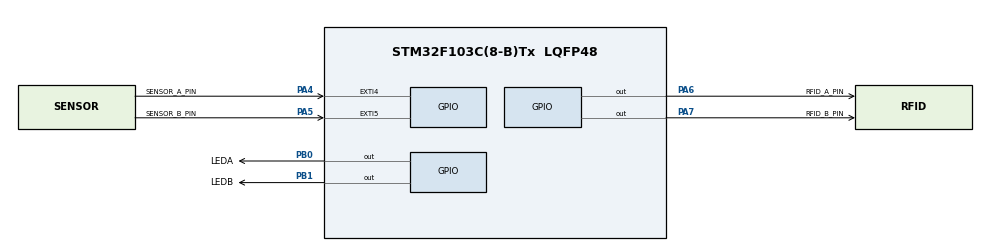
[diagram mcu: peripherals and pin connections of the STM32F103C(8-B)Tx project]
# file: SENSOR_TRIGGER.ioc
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Mcu.Family=STM32F1
Mcu.Name=STM32F103C(8-B)Tx
Mcu.Package=LQFP48
NVIC.EXTI4_IRQn=true\:0\:0\:false\:false\:true\:true\:true\:true
NVIC.EXTI9_5_IRQn=true\:0\:0\:false\:false\:true\:true\:true\:true
NVIC.PriorityGroup=NVIC_PRIORITYGROUP_4
PA13.Mode=JTAG_4_pins
PA13.Signal=SYS_JTMS-SWDIO
PA14.Mode=JTAG_4_pins
PA14.Signal=SYS_JTCK-SWCLK
PA15.Mode=JTAG_4_pins
PA15.Signal=SYS_JTDI
PA4.GPIO_Label=SENSOR_A_PIN
PA4.GPIO_ModeDefaultEXTI=GPIO_MODE_IT_FALLING
PA4.GPIO_PuPd=GPIO_PULLUP
PA4.Signal=GPXTI4
PA5.GPIO_Label=SENSOR_B_PIN
PA5.GPIO_ModeDefaultEXTI=GPIO_MODE_IT_FALLING
PA5.GPIO_PuPd=GPIO_PULLUP
PA5.Signal=GPXTI5
PA6.GPIO_Label=RFID_A_PIN
PA6.Signal=GPIO_Output
PA7.GPIO_Label=RFID_B_PIN
PA7.Signal=GPIO_Output
PB0.GPIO_Label=LEDA
PB0.Signal=GPIO_Output
PB1.GPIO_Label=LEDB
PB1.Signal=GPIO_Output
PB3.Mode=JTAG_4_pins
PB3.Signal=SYS_JTDO-TRACESWO
PD0-OSC_IN.Mode=HSE-External-Oscillator
PD0-OSC_IN.Signal=RCC_OSC_IN
PD1-OSC_OUT.Mode=HSE-External-Oscillator
PD1-OSC_OUT.Signal=RCC_OSC_OUT
ProjectManager.HeapSize=0x200
ProjectManager.StackSize=0x400
ProjectManager.TargetToolchain=STM32CubeIDE
RCC.APB1Freq_Value=8000000
RCC.APB2Freq_Value=8000000
board=custom

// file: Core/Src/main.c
/* USER CODE BEGIN Header */
/**
  ******************************************************************************
  * @file           : main.c
  * @brief          : Main program body
  ******************************************************************************
  * @attention
  *
  * Copyright (c) 2026 STMicroelectronics.
  * All rights reserved.
  *
  * This software is licensed under terms that can be found in the LICENSE file
  * in the root directory of this software component.
  * If no LICENSE file comes with this software, it is provided AS-IS.
  *
  ******************************************************************************
  */
/* USER CODE END Header */
#include "main.h"

/* USER CODE BEGIN PTD */
typedef enum
{
    STATE_IDLE = 0,
    STATE_A_TO_B,       // direction locked: vehicle going A → B, rfidB ON
    STATE_B_TO_A,       // direction locked: vehicle going B → A, rfidA ON
} system_state_t;
/* USER CODE END PTD */

/* USER CODE BEGIN PD */
void rfidA_on();
void rfidA_off();
void rfidB_on();
void rfidB_off();
void sensorA_event(uint8_t blocked);
void sensorB_event(uint8_t blocked);
/* USER CODE END PD */

/* USER CODE BEGIN PV */
volatile system_state_t system_state = STATE_IDLE;
uint32_t state_timer = 0;
uint32_t clear_timer = 0;
uint32_t wait_clear_timer = 0;
uint8_t sensorA_blocked = 0;
uint8_t sensorB_blocked = 0;
uint8_t rfid_cleared = 0;
uint8_t debounce_A = 0;
uint8_t debounce_B = 0;
uint8_t wait_clear = 0;       // 1 = waiting for old vehicle to clear after timeout
uint8_t ignore_sensor = 0;   // 'A' or 'B' - which sensor to ignore during wait_clear
uint8_t active_rfid = 0;     // 'A' or 'B' - which rfid is still on after timeout
#define DEBOUNCE_COUNT 3   // 3 x 10ms = 30ms debounce
/* USER CODE END PV */

void SystemClock_Config(void);
static void MX_GPIO_Init(void);
/* USER CODE BEGIN PFP */
void sensorA_event(uint8_t blocked);
void sensorB_event(uint8_t blocked);
void process_sensors(void);
void clear_to_idle_task(void);
void system_timeout_task(void);

/* USER CODE END PFP */

/* USER CODE BEGIN 0 */
void rfidA_on()
{
    HAL_GPIO_WritePin(RFID_A_PIN_GPIO_Port, RFID_A_PIN_Pin, GPIO_PIN_SET);
    HAL_GPIO_WritePin(LEDA_GPIO_Port, LEDA_Pin, GPIO_PIN_SET);
}

void rfidA_off()
{
    HAL_GPIO_WritePin(RFID_A_PIN_GPIO_Port, RFID_A_PIN_Pin, GPIO_PIN_RESET);
    HAL_GPIO_WritePin(LEDA_GPIO_Port, LEDA_Pin, GPIO_PIN_RESET);
}

void rfidB_on()
{
    HAL_GPIO_WritePin(RFID_B_PIN_GPIO_Port, RFID_B_PIN_Pin, GPIO_PIN_SET);
    HAL_GPIO_WritePin(LEDB_GPIO_Port, LEDB_Pin, GPIO_PIN_SET);
}

void rfidB_off()
{
    HAL_GPIO_WritePin(RFID_B_PIN_GPIO_Port, RFID_B_PIN_Pin, GPIO_PIN_RESET);
    HAL_GPIO_WritePin(LEDB_GPIO_Port, LEDB_Pin, GPIO_PIN_RESET);
}

void sensorA_event(uint8_t blocked)
{
    sensorA_blocked = blocked;

    switch(system_state)
    {
        case STATE_IDLE:
            if(blocked)
            {
                // If waiting for old vehicle to clear, handle exit sensor
                if(wait_clear && ignore_sensor == 'A')
                {
                    // Old vehicle reached exit sensor -> turn off its rfid
                    if(active_rfid == 'A') rfidA_off();
                    else if(active_rfid == 'B') rfidB_off();
                    active_rfid = 0;
                    rfid_cleared = 1;
                    break;
                }

                // Vehicle enters from A side -> turn on rfidB
                rfidB_on();
                rfidA_off();
                wait_clear = 0;
                active_rfid = 0;
                system_state = STATE_A_TO_B;
                state_timer = HAL_GetTick();
            }
        break;

        case STATE_A_TO_B:
            // Ignore all sensorA events - direction is locked, waiting for sensorB
        break;

        case STATE_B_TO_A:
            if(blocked)
            {
                // Vehicle reached A side -> turn off rfidA
                rfidA_off();
                rfid_cleared = 1;
            }
        break;

        default:
        break;
    }
}

void sensorB_event(uint8_t blocked)
{
    sensorB_blocked = blocked;

    switch(system_state)
    {
        case STATE_IDLE:
            if(blocked)
            {
                // If waiting for old vehicle to clear, handle exit sensor
                if(wait_clear && ignore_sensor == 'B')
                {
                    // Old vehicle reached exit sensor -> turn off its rfid
                    if(active_rfid == 'A') rfidA_off();
                    else if(active_rfid == 'B') rfidB_off();
                    active_rfid = 0;
                    rfid_cleared = 1;
                    break;
                }

                // Vehicle enters from B side -> turn on rfidA
                rfidA_on();
                rfidB_off();
                wait_clear = 0;
                active_rfid = 0;
                system_state = STATE_B_TO_A;
                state_timer = HAL_GetTick();
            }
        break;

        case STATE_B_TO_A:
            // Ignore all sensorB events - direction is locked, waiting for sensorA
        break;

        case STATE_A_TO_B:
            if(blocked)
            {
                // Vehicle reached B side -> turn off rfidB
                rfidB_off();
                rfid_cleared = 1;
            }
        break;

        default:
        break;
    }
}

void clear_to_idle_task()
{
    if(system_state != STATE_IDLE && rfid_cleared)
    {
        if(!sensorA_blocked && !sensorB_blocked)
        {
            if(HAL_GetTick() - clear_timer > 500)
            {
                rfidA_off();
                rfidB_off();
                rfid_cleared = 0;
                system_state = STATE_IDLE;
            }
        }
        else
        {
            clear_timer = HAL_GetTick();
        }
    }

    // Clear wait_clear flag once both sensors are unblocked for 500ms
    if(wait_clear && system_state == STATE_IDLE)
    {
        if(!sensorA_blocked && !sensorB_blocked && rfid_cleared)
        {
            if(HAL_GetTick() - wait_clear_timer > 500)
            {
                // Vehicle has fully cleared, turn off any remaining rfid
                if(active_rfid == 'A') rfidA_off();
                else if(active_rfid == 'B') rfidB_off();
                active_rfid = 0;
                wait_clear = 0;
                rfid_cleared = 0;
            }
        }
        else
        {
            wait_clear_timer = HAL_GetTick();
        }
    }
}

void system_timeout_task()
{
    if(system_state != STATE_IDLE)
    {
        if(HAL_GetTick() - state_timer > 300000)  // 5 minutes safety timeout
        {
            // Remember direction info but KEEP RFID ON
            if(system_state == STATE_A_TO_B)
            {
                ignore_sensor = 'B';   // vehicle going A->B, exit is sensorB
                active_rfid = 'B';     // rfidB is still on, keep it on
            }
            else
            {
                ignore_sensor = 'A';   // vehicle going B->A, exit is sensorA
                active_rfid = 'A';     // rfidA is still on, keep it on
            }

            // DON'T turn off rfid - vehicle still on scale
            rfid_cleared = 0;
            wait_clear = 1;
            wait_clear_timer = HAL_GetTick();
            system_state = STATE_IDLE;
        }
    }
}

void process_sensors()
{
    // Read GPIO directly every 10ms - no EXTI dependency
    uint8_t a_now = (HAL_GPIO_ReadPin(SENSOR_A_PIN_GPIO_Port, SENSOR_A_PIN_Pin) == GPIO_PIN_RESET);
    uint8_t b_now = (HAL_GPIO_ReadPin(SENSOR_B_PIN_GPIO_Port, SENSOR_B_PIN_Pin) == GPIO_PIN_RESET);

    // Debounce sensorA: must see new state for DEBOUNCE_COUNT consecutive reads
    if(a_now != sensorA_blocked)
    {
        debounce_A++;
        if(debounce_A >= DEBOUNCE_COUNT)
        {
            sensorA_event(a_now);
            debounce_A = 0;
        }
    }
    else
    {
        debounce_A = 0;
    }

    // Debounce sensorB
    if(b_now != sensorB_blocked)
    {
        debounce_B++;
        if(debounce_B >= DEBOUNCE_COUNT)
        {
            sensorB_event(b_now);
            debounce_B = 0;
        }
    }
    else
    {
        debounce_B = 0;
    }
}
/* USER CODE END 0 */

int main(void)
{

  /* MCU Configuration--------------------------------------------------------*/

  /* Reset of all peripherals, Initializes the Flash interface and the Systick. */
  HAL_Init();

  /* Configure the system clock */
  SystemClock_Config();

  /* Initialize all configured peripherals */
  MX_GPIO_Init();
  /* USER CODE BEGIN 2 */
  __enable_irq();
  /* USER CODE END 2 */

  /* Infinite loop */
  while (1)
  {

    /* USER CODE BEGIN 3 */
    system_timeout_task();
    process_sensors();
    clear_to_idle_task();
    HAL_Delay(10);
  }
  /* USER CODE END 3 */
}

void SystemClock_Config(void)
{
  RCC_OscInitTypeDef RCC_OscInitStruct = {0};
  RCC_ClkInitTypeDef RCC_ClkInitStruct = {0};

  /** Initializes the RCC Oscillators according to the specified parameters
  * in the RCC_OscInitTypeDef structure.
  */
  RCC_OscInitStruct.OscillatorType = RCC_OSCILLATORTYPE_HSI;
  RCC_OscInitStruct.HSIState = RCC_HSI_ON;
  RCC_OscInitStruct.HSICalibrationValue = RCC_HSICALIBRATION_DEFAULT;
  RCC_OscInitStruct.PLL.PLLState = RCC_PLL_NONE;
  if (HAL_RCC_OscConfig(&RCC_OscInitStruct) != HAL_OK)
  {
    Error_Handler();
  }

  /** Initializes the CPU, AHB and APB buses clocks
  */
  RCC_ClkInitStruct.ClockType = RCC_CLOCKTYPE_HCLK|RCC_CLOCKTYPE_SYSCLK
                              |RCC_CLOCKTYPE_PCLK1|RCC_CLOCKTYPE_PCLK2;
  RCC_ClkInitStruct.SYSCLKSource = RCC_SYSCLKSOURCE_HSI;
  RCC_ClkInitStruct.AHBCLKDivider = RCC_SYSCLK_DIV1;
  RCC_ClkInitStruct.APB1CLKDivider = RCC_HCLK_DIV1;
  RCC_ClkInitStruct.APB2CLKDivider = RCC_HCLK_DIV1;

  if (HAL_RCC_ClockConfig(&RCC_ClkInitStruct, FLASH_LATENCY_0) != HAL_OK)
  {
    Error_Handler();
  }
}

static void MX_GPIO_Init(void)
{
  GPIO_InitTypeDef GPIO_InitStruct = {0};

  /* GPIO Ports Clock Enable */
  __HAL_RCC_GPIOD_CLK_ENABLE();
  __HAL_RCC_GPIOA_CLK_ENABLE();
  __HAL_RCC_GPIOB_CLK_ENABLE();

  /*Configure GPIO pin Output Level */
  HAL_GPIO_WritePin(GPIOA, RFID_A_PIN_Pin|RFID_B_PIN_Pin, GPIO_PIN_RESET);
  HAL_GPIO_WritePin(GPIOB, LEDA_Pin|LEDB_Pin, GPIO_PIN_RESET);

  /*Configure GPIO pin Output Level */
  HAL_GPIO_WritePin(GPIOB, LEDA_Pin|LEDB_Pin, GPIO_PIN_RESET);

  /*Configure GPIO pins : SENSOR_A_PIN_Pin SENSOR_B_PIN_Pin */
  GPIO_InitStruct.Pin = SENSOR_A_PIN_Pin|SENSOR_B_PIN_Pin;
  GPIO_InitStruct.Mode = GPIO_MODE_IT_RISING_FALLING;
  GPIO_InitStruct.Pull = GPIO_PULLUP;
  HAL_GPIO_Init(GPIOA, &GPIO_InitStruct);

  /*Configure GPIO pins : RFID_A_PIN_Pin RFID_B_PIN_Pin */
  GPIO_InitStruct.Pin = RFID_A_PIN_Pin|RFID_B_PIN_Pin;
  GPIO_InitStruct.Mode = GPIO_MODE_OUTPUT_PP;
  GPIO_InitStruct.Pull = GPIO_NOPULL;
  GPIO_InitStruct.Speed = GPIO_SPEED_FREQ_LOW;
  HAL_GPIO_Init(GPIOA, &GPIO_InitStruct);

  /*Configure GPIO pins : LEDA_Pin LEDB_Pin */
  GPIO_InitStruct.Pin = LEDA_Pin|LEDB_Pin;
  GPIO_InitStruct.Mode = GPIO_MODE_OUTPUT_PP;
  GPIO_InitStruct.Pull = GPIO_NOPULL;
  GPIO_InitStruct.Speed = GPIO_SPEED_FREQ_LOW;
  HAL_GPIO_Init(GPIOB, &GPIO_InitStruct);

  /* EXTI interrupt init*/
  HAL_NVIC_SetPriority(EXTI4_IRQn, 0, 0);
  HAL_NVIC_EnableIRQ(EXTI4_IRQn);

  HAL_NVIC_SetPriority(EXTI9_5_IRQn, 0, 0);
  HAL_NVIC_EnableIRQ(EXTI9_5_IRQn);

}

/* USER CODE BEGIN 4 */
void HAL_GPIO_EXTI_Callback(uint16_t GPIO_Pin)
{
    // Intentionally empty - sensors are polled in main loop
    // EXTI kept active to wake from sleep if needed
    (void)GPIO_Pin;
}
/* USER CODE END 4 */

void Error_Handler(void)
{
  __disable_irq();
  while (1)
  {
  }
}
